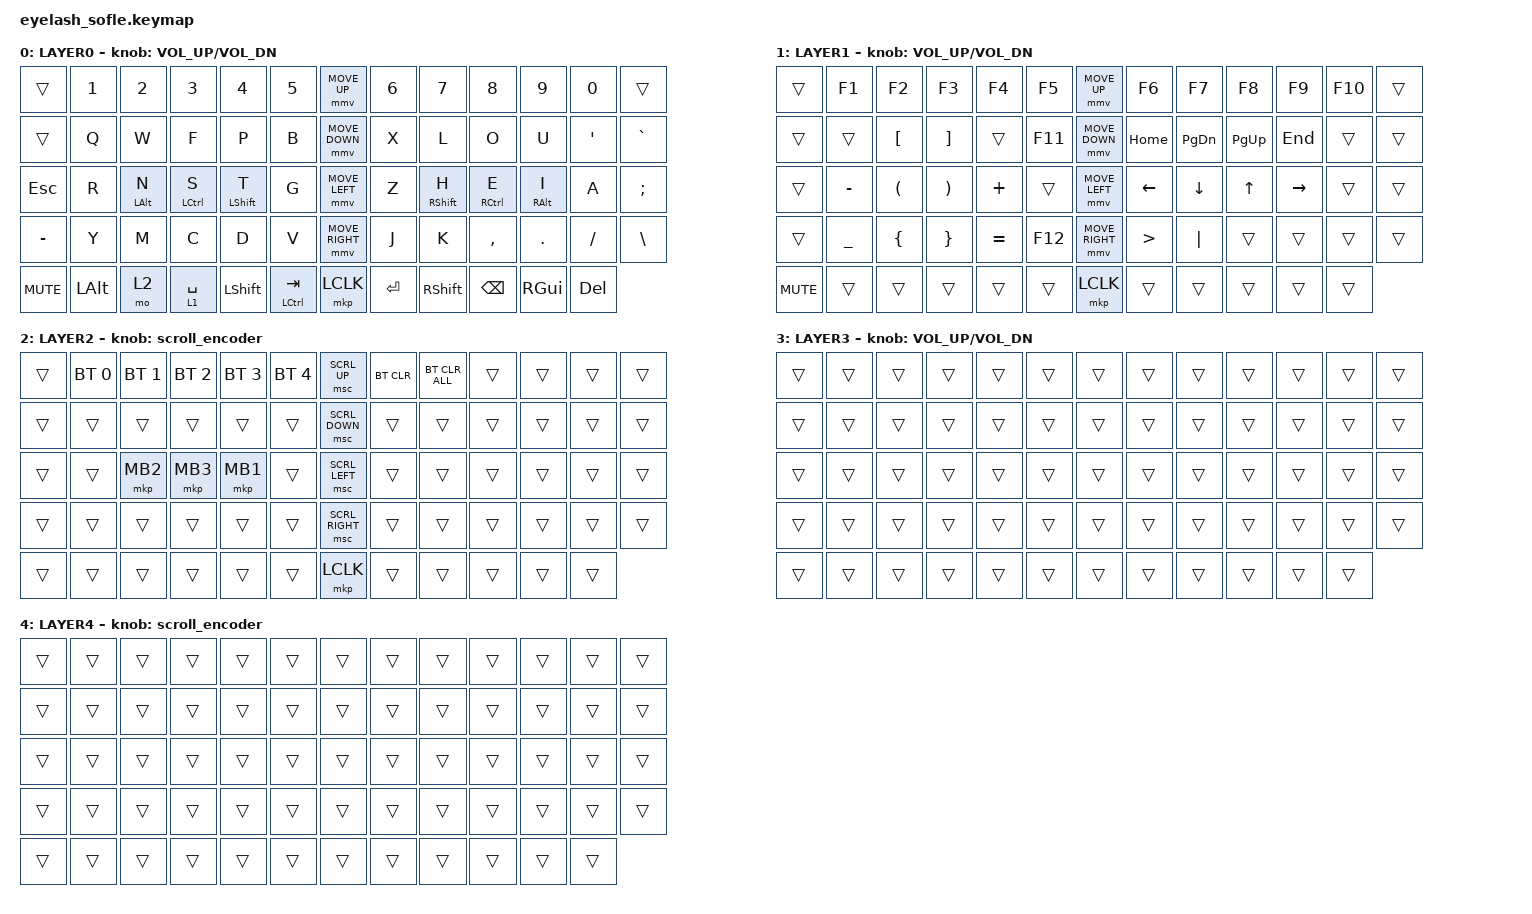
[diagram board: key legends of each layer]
#define ZMK_POINTING_DEFAULT_MOVE_VAL 1200  // 600
#define ZMK_POINTING_DEFAULT_SCRL_VAL 25   // 10

#include <input/processors.dtsi>
#include <zephyr/dt-bindings/input/input-event-codes.h>
#include <behaviors.dtsi>
#include <dt-bindings/zmk/bt.h>
#include <dt-bindings/zmk/keys.h>
#include <dt-bindings/zmk/outputs.h>
#include <dt-bindings/zmk/pointing.h>
#include <dt-bindings/zmk/rgb.h>

&mmv_input_listener { input-processors = <&zip_xy_scaler 2 1>; };

&msc_input_listener { input-processors = <&zip_scroll_scaler 2 1>; };

&msc {
    acceleration-exponent = <1>;      // 0
    time-to-max-speed-ms = <100>;       // 300
    delay-ms = <0>;                   // 0
};

&mmv {
    time-to-max-speed-ms = <500>;
    acceleration-exponent = <1>;
    trigger-period-ms = <16>;
};

&soft_off { hold-time-ms = <2000>; };

/ {
    scroll_encoder: scroll_encoder {
        compatible = "zmk,behavior-sensor-rotate";
        #sensor-binding-cells = <0>;
        bindings = <&msc SCRL_DOWN>, <&msc SCRL_UP>;

        tap-ms = <100>;
    };

    behaviors {
        hrm: hrm {
            compatible = "zmk,behavior-hold-tap";
            label = "HRM";
            bindings = <&kp>, <&kp>;

            #binding-cells = <2>;
            tapping-term-ms = <175>;
            quick-tap-ms = <100>;
            flavor = "balanced";
        };

        hrms: hrms {
            compatible = "zmk,behavior-hold-tap";
            label = "HRMS";
            bindings = <&kp>, <&kp>;

            #binding-cells = <2>;
            flavor = "balanced";
            tapping-term-ms = <200>;
        };

        tdbt: tdbt {
            compatible = "zmk,behavior-tap-dance";
            label = "TDBT";
            #binding-cells = <0>;
            bindings = <&bt BT_SEL 0>, <&bt BT_SEL 1>;

            tapping-term-ms = <200>;
        };
    };

    combos {
        compatible = "zmk,combos";

        softoff {
            bindings = <&soft_off>;
            key-positions = <14 28 40>;
        };
    };

    macros {
        SHIFT_MCLK: SHIFT_MCLK {
            compatible = "zmk,behavior-macro";
            #binding-cells = <0>;
            bindings =
                <&macro_press>,
                <&kp LEFT_SHIFT>,
                <&macro_press>,
                <&mkp MB3>,
                <&macro_pause_for_release>,
                <&macro_release>,
                <&kp LEFT_SHIFT &mkp MB3>;

            label = "SHIFT_MCLK";
        };
    };

    keymap {
        compatible = "zmk,keymap";

        layer0 {
            bindings = <
&trans      &kp N1     &kp N2        &kp N3        &kp N4         &kp N5         &mmv MOVE_UP     &kp N6     &kp N7        &kp N8        &kp N9        &kp N0     &trans
&trans      &kp Q      &kp W         &kp F         &kp P          &kp B          &mmv MOVE_DOWN   &kp X      &kp L         &kp O         &kp U         &kp SQT    &kp GRAVE
&kp ESC     &kp R      &hrms LALT N  &hrm LCTRL S  &hrm LSHFT T   &kp G          &mmv MOVE_LEFT   &kp Z      &hrm RSHFT H  &hrm RCTRL E  &hrms RALT I  &kp A      &kp SEMI
&kp MINUS   &kp Y      &kp M         &kp C         &kp D          &kp V          &mmv MOVE_RIGHT  &kp J      &kp K         &kp COMMA     &kp DOT       &kp SLASH  &kp BSLH
&kp C_MUTE  &kp LALT   &mo 2         &lt 1 SPACE   &kp LSHFT      &mt LCTRL TAB  &mkp LCLK        &kp ENTER  &kp RSHFT     &kp BSPC      &kp RGUI      &kp DELETE
            >;

            sensor-bindings = <&inc_dec_kp C_VOLUME_UP C_VOL_DN>;
            display-name = "LAYER0";
        };

        layer_1 {
            bindings = <
&trans      &kp F1     &kp F2    &kp F3    &kp F4     &kp F5     &mmv MOVE_UP     &kp F6    &kp F7      &kp F8      &kp F9     &kp F10  &trans
&trans      &trans     &kp LBKT  &kp RBKT  &trans     &kp F11    &mmv MOVE_DOWN   &kp HOME  &kp PG_DN   &kp PG_UP   &kp END    &trans   &trans
&trans      &kp MINUS  &kp LPAR  &kp RPAR  &kp PLUS   &trans     &mmv MOVE_LEFT   &kp LEFT  &kp DOWN    &kp UP      &kp RIGHT  &trans   &trans
&trans      &kp UNDER  &kp LBRC  &kp RBRC  &kp EQUAL  &kp F12    &mmv MOVE_RIGHT  &kp GT    &kp PIPE    &trans      &trans     &trans   &trans
&kp C_MUTE  &trans     &trans    &trans    &trans     &trans     &mkp LCLK        &trans    &trans      &trans      &trans     &trans
            >;

            sensor-bindings = <&inc_dec_kp C_VOLUME_UP C_VOL_DN>;
            display-name = "LAYER1";
        };

        layer_2 {
            bindings = <
&trans     &bt BT_SEL 0  &bt BT_SEL 1    &bt BT_SEL 2  &bt BT_SEL 3  &bt BT_SEL 4    &msc SCRL_UP     &bt BT_CLR  &bt BT_CLR_ALL  &trans      &trans    &trans   &trans
&trans     &trans        &trans          &trans        &trans        &trans          &msc SCRL_DOWN   &trans      &trans          &trans      &trans    &trans   &trans
&trans     &trans        &mkp MB2        &mkp MB3      &mkp MB1      &trans          &msc SCRL_LEFT   &trans      &trans          &trans      &trans    &trans   &trans
&trans     &trans        &trans          &trans        &trans        &trans          &msc SCRL_RIGHT  &trans      &trans          &trans      &trans    &trans   &trans
&trans     &trans        &trans          &trans        &trans        &trans          &mkp LCLK        &trans      &trans          &trans      &trans    &trans
            >;

            display-name = "LAYER2";
            sensor-bindings = <&scroll_encoder>;
        };

        layer_3 {
            bindings = <
&trans  &trans  &trans  &trans  &trans  &trans    &trans  &trans  &trans  &trans  &trans  &trans  &trans
&trans  &trans  &trans  &trans  &trans  &trans    &trans  &trans  &trans  &trans  &trans  &trans  &trans
&trans  &trans  &trans  &trans  &trans  &trans    &trans  &trans  &trans  &trans  &trans  &trans  &trans
&trans  &trans  &trans  &trans  &trans  &trans    &trans  &trans  &trans  &trans  &trans  &trans  &trans
&trans  &trans  &trans  &trans  &trans  &trans    &trans  &trans  &trans  &trans  &trans  &trans
            >;

            display-name = "LAYER3";
            sensor-bindings = <&inc_dec_kp C_VOLUME_UP C_VOL_DN>;
        };

        layer_4 {
            bindings = <
&trans  &trans  &trans  &trans  &trans  &trans    &trans  &trans  &trans  &trans  &trans  &trans  &trans
&trans  &trans  &trans  &trans  &trans  &trans    &trans  &trans  &trans  &trans  &trans  &trans  &trans
&trans  &trans  &trans  &trans  &trans  &trans    &trans  &trans  &trans  &trans  &trans  &trans  &trans
&trans  &trans  &trans  &trans  &trans  &trans    &trans  &trans  &trans  &trans  &trans  &trans  &trans
&trans  &trans  &trans  &trans  &trans  &trans    &trans  &trans  &trans  &trans  &trans  &trans
            >;

            display-name = "LAYER4";
            sensor-bindings = <&scroll_encoder>;
        };
    };
};
